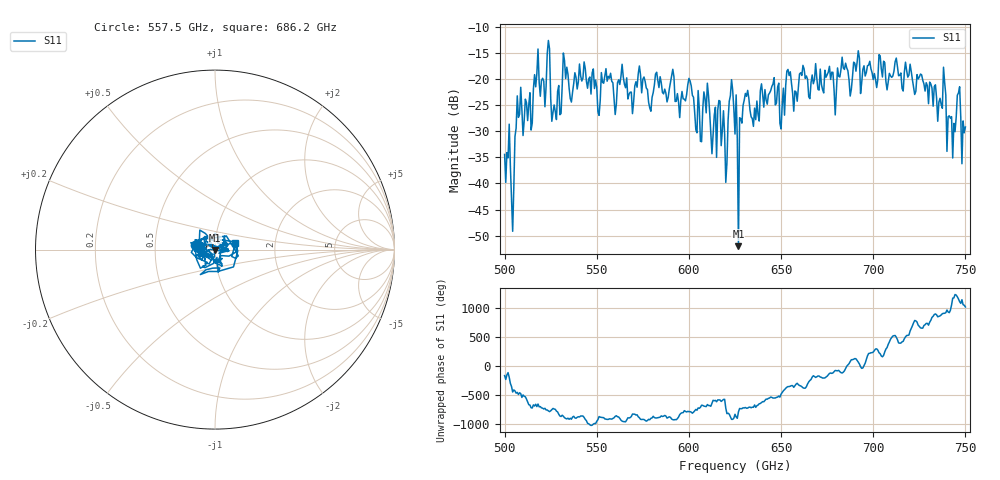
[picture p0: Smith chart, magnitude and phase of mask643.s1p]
!Created with skrf (http://scikit-rf.org).
# GHz S MA R 50.0
!freq magS11 angS11
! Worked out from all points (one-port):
!   401 points, 500 GHz to 750 GHz, reference 50 ohm
!   lowest |S11| = -52.0 dB at 626.9 GHz (marker M1), VSWR 1.01, Z = 50.1 - j0.238 ohm
!   |S11| at or under -10 dB: start of sweep to end of sweep
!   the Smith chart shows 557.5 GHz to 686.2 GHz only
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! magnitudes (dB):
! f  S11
! 500 GHz  -34.5
! 504.4 GHz  -49.2
! 507.5 GHz  -27.4
! 513.8 GHz  -22.7
! 516.9 GHz  -21.5
! 520.6 GHz  -19.9
! 523.8 GHz  -12.7
! 526.9 GHz  -25.0
! 531.2 GHz  -21.3
! 562.5 GHz  -21.1
! 579.4 GHz  -26.2
! 590.6 GHz  -19.4
! 593.8 GHz  -22.8
! 600.6 GHz  -20.4
! 605.6 GHz  -25.7
! 609.4 GHz  -26.5
! 619.4 GHz  -30.6
! 622.5 GHz  -23.2
! 625 GHz  -30.6
! 625.6 GHz  -23.1
! 626.9 GHz  -52.0
! 631.2 GHz  -23.3
! 635 GHz  -29.1
! 656.2 GHz  -22.7
! 687.5 GHz  -23.3
! 691.2 GHz  -16.8
! 718.8 GHz  -19.7
! 750 GHz  -29.2
